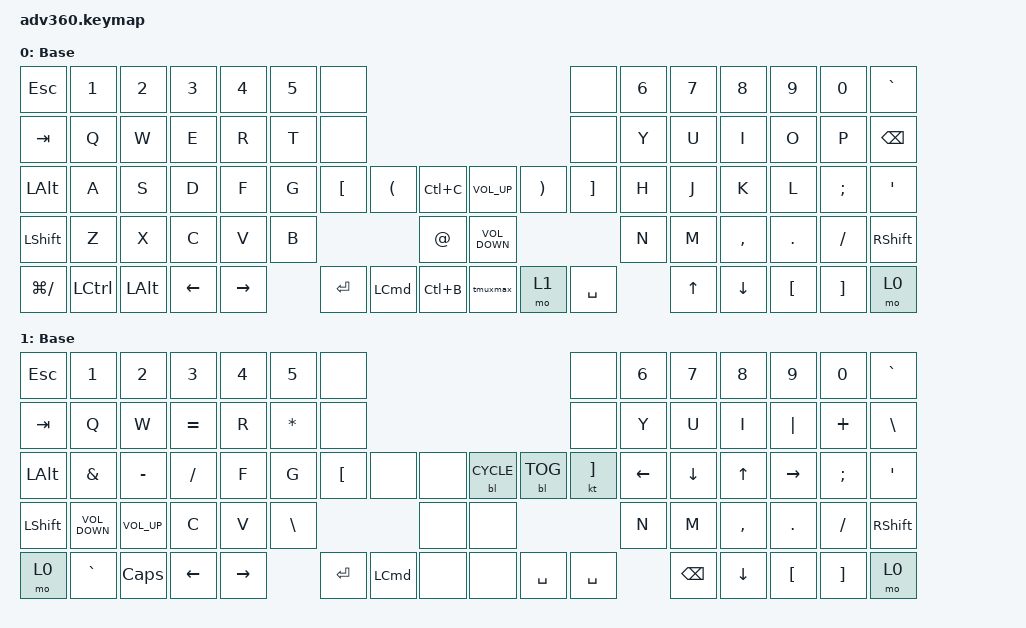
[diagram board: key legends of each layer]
#include <dt-bindings/zmk/stp.h>
#include <behaviors.dtsi>
#include <dt-bindings/zmk/backlight.h>
#include <dt-bindings/zmk/keys.h>

/ {
    behaviors {
        #include "macros.dtsi"
      #include "version.dtsi"

        hm: homerow_mods {
            compatible = "zmk,behavior-hold-tap";
            label = "HOMEROW_MODS";
            #binding-cells = <2>;
            tapping-term-ms = <200>;
            quick_tap_ms = <175>;
            flavor = "tap-preferred";
            bindings = <&kp>, <&kp>;
        };
    };

    macros {
        tmuxmax: tmuxmax {
            compatible = "zmk,behavior-macro";
            #binding-cells = <0>;
            bindings = <&kp LC(B) &kp Z>;
            label = "TMUXMAX";
        };
    };

    keymap {
        compatible = "zmk,keymap";

        Default {
            display-name = "Base";
            bindings = <
&kp ESCAPE     &kp N1            &kp N2        &kp N3    &kp N4     &kp N5  &none                                                                                              &none              &kp N6  &kp N7        &kp N8     &kp N9    &kp N0    &kp GRAVE
&kp TAB        &kp Q             &kp W         &kp E     &kp R      &kp T   &none                                                                                              &none              &kp Y   &kp U         &kp I      &kp O     &kp P     &kp BACKSPACE
&kp LEFT_ALT   &kp A             &kp S         &kp D     &kp F      &kp G   &kp LEFT_BRACKET  &kp LEFT_PARENTHESIS  &kp LC(C)        &kp C_VOLUME_UP    &kp RIGHT_PARENTHESIS  &kp RIGHT_BRACKET  &kp H   &kp J         &kp K      &kp L     &kp SEMI  &kp SQT
&kp LSHFT      &kp Z             &kp X         &kp C     &kp V      &kp B                                           &kp AT_SIGN      &kp C_VOLUME_DOWN                                            &kp N   &kp M         &kp COMMA  &kp DOT   &kp FSLH  &kp RSHFT
&kp LG(SLASH)  &kp LEFT_CONTROL  &kp LEFT_ALT  &kp LEFT  &kp RIGHT          &kp ENTER         &kp LCMD              &kp LC(B)        &tmuxmax           &mo 1                  &kp SPACE                  &kp UP_ARROW  &kp DOWN   &kp LBKT  &kp RBKT  &mo 0
            >;
        };

        Layer2 {
            display-name = "Base";
            bindings = <
&kp ESCAPE    &kp N1             &kp N2           &kp N3     &kp N4     &kp N5         &none                                                            &none              &kp N6          &kp N7          &kp N8        &kp N9           &kp N0    &kp GRAVE
&kp TAB       &kp Q              &kp W            &kp EQUAL  &kp R      &kp STAR       &none                                                            &none              &kp Y           &kp U           &kp I         &kp PIPE         &kp PLUS  &kp BSLH
&kp LEFT_ALT  &kp AMPERSAND      &kp MINUS        &kp SLASH  &kp F      &kp G          &kp LEFT_BRACKET  &none     &none      &bl BL_CYCLE  &bl BL_TOG  &kt RIGHT_BRACKET  &kp LEFT_ARROW  &kp DOWN_ARROW  &kp UP_ARROW  &kp RIGHT_ARROW  &kp SEMI  &kp SQT
&kp LSHFT     &kp K_VOLUME_DOWN  &kp K_VOLUME_UP  &kp C      &kp V      &kp BACKSLASH                              &none      &none                                        &kp N           &kp M           &kp COMMA     &kp DOT          &kp FSLH  &kp RSHFT
&mo 0         &kp GRAVE          &kp CAPS         &kp LEFT   &kp RIGHT                 &kp ENTER         &kp LCMD  &none      &none         &kp SPACE   &kp SPACE                          &kp BACKSPACE   &kp DOWN      &kp LBKT         &kp RBKT  &mo 0
            >;
        };
    };
};
